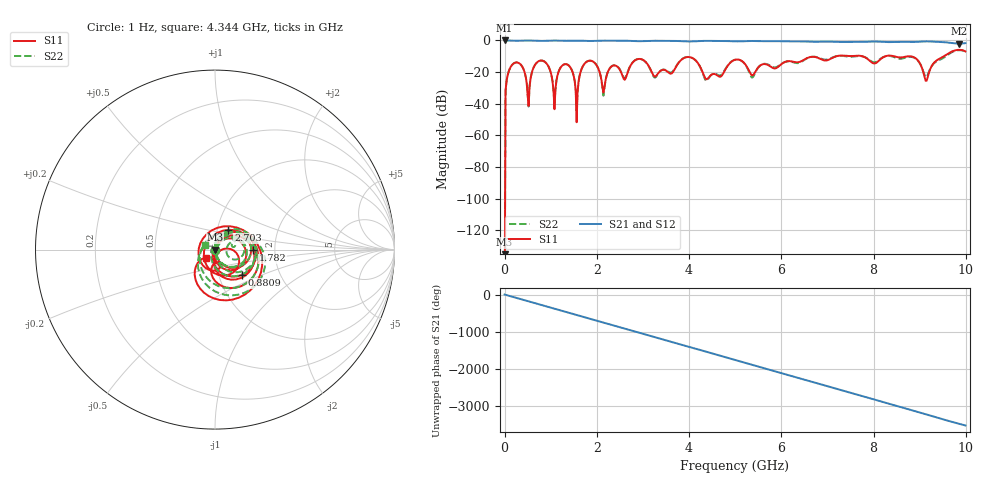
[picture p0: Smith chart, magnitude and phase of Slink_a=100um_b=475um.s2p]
! TouchStone data converted from IdEM dataset
# Hz S DB R 50
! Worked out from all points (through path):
!   500 points, 1 Hz to 9.99 GHz, reference 50 ohm
!   highest |S21| = 0.00 dB at 1 Hz (marker M1); lowest = -2.0 dB at 9.85 GHz (marker M2)
!   group delay of S21, straight-line fit = 976 ps
!   lowest |S11| = -178.1 dB at 1 Hz (marker M3), VSWR 1.00, Z = 50 + j1.25e-07 ohm
!   |S11| at or under -10 dB: start of sweep to 7.191 GHz; 7.758 GHz to 8.255 GHz (496.6 MHz wide, 6.2 % of centre); 8.794 GHz to 9.523 GHz (728.8 MHz wide, 7.96 % of centre)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
!   |S22| runs from -178.1 to -6.1 dB; largest |S21 - S12| = 3.8e-15
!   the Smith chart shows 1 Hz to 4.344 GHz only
!   S11 on the Smith chart (normalised r, x): 1 Hz: 1.00, +0.00; 880.9 MHz: 1.29, -0.38; 1.782 GHz: 1.54, -0.01; 2.703 GHz: 1.13, +0.25; 4.344 GHz: 0.90, -0.08
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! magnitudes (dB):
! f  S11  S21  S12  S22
! 1 Hz  -178.1  0.0  0.0  -178.1
! 60.06 MHz  -22.7  0.0  0.0  -22.7
! 140.1 MHz  -16.3  -0.1  -0.1  -16.3
! 520.5 MHz  -41.4  0.0  0.0  -41.8
! 880.9 MHz  -13.7  -0.2  -0.2  -13.7
! 1.081 GHz  -43.4  -0.1  -0.1  -40.9
! 1.341 GHz  -15.0  -0.2  -0.2  -15.0
! 1.562 GHz  -51.7  -0.1  -0.1  -44.5
! 1.682 GHz  -17.2  -0.2  -0.2  -17.1
! 1.782 GHz  -13.4  -0.3  -0.3  -13.4
! 2.142 GHz  -32.9  -0.1  -0.1  -34.9
! 2.703 GHz  -17.5  -0.2  -0.2  -17.4
! 3.343 GHz  -20.3  -0.2  -0.2  -20.4
! 4.004 GHz  -10.5  -0.6  -0.6  -10.5
! 4.344 GHz  -23.6  -0.3  -0.3  -24.5
! 5.005 GHz  -12.1  -0.6  -0.6  -12.1
! 5.365 GHz  -22.1  -0.3  -0.3  -23.5
! 6.667 GHz  -10.3  -0.8  -0.8  -10.3
! 8.328 GHz  -9.6  -1.0  -1.0  -9.7
! 9.149 GHz  -25.5  -0.6  -0.6  -23.1
! 9.85 GHz  -5.9  -2.0  -2.0  -6.2
! 9.99 GHz  -6.9  -1.7  -1.7  -7.0
